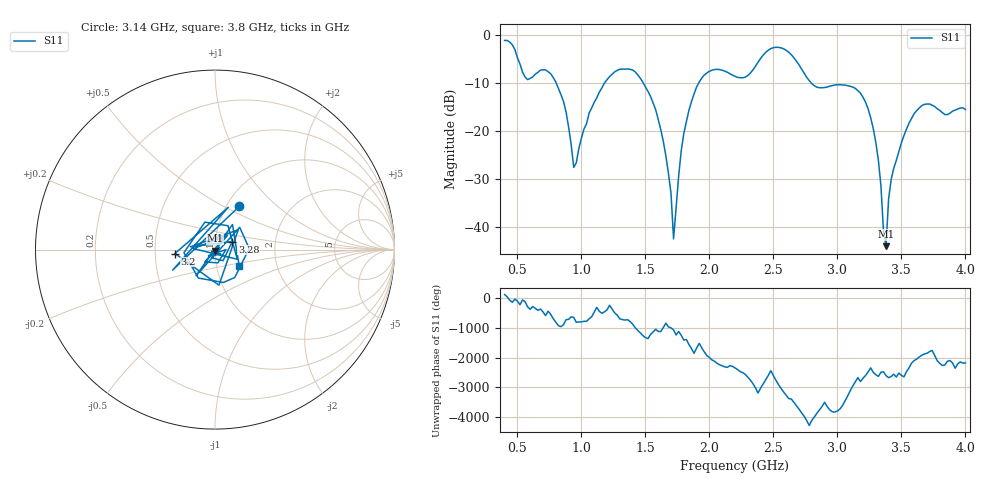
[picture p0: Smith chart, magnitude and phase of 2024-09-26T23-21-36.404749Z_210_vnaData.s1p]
!Created with skrf (http://scikit-rf.org).
# Hz S RI R 50.0
!freq ReS11 ImS11
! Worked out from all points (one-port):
!   181 points, 400 MHz to 4 GHz, reference 50 ohm
!   lowest |S11| = -43.9 dB at 3.38 GHz (marker M1), VSWR 1.01, Z = 50 - j0.636 ohm
!   |S11| at or under -10 dB: 802.5 MHz to 1.181 GHz (378.4 MHz wide, 38.2 % of centre); 1.483 GHz to 1.917 GHz (434.5 MHz wide, 25.6 % of centre); 2.794 GHz to end of sweep
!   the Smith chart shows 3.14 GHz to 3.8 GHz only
!   S11 on the Smith chart (normalised r, x): 3.14 GHz: 1.15, +0.60; 3.2 GHz: 0.63, -0.03; 3.28 GHz: 1.21, +0.11; 3.8 GHz: 1.29, -0.24
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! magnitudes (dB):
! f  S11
! 400 MHz  -1.2
! 560 MHz  -8.8
! 720 MHz  -7.3
! 860 MHz  -13.9
! 940 MHz  -27.6
! 1.06 GHz  -16.3
! 1.3 GHz  -7.2
! 1.44 GHz  -8.3
! 1.58 GHz  -15.6
! 1.68 GHz  -28.8
! 1.72 GHz  -42.4
! 1.76 GHz  -29.3
! 1.82 GHz  -18.1
! 1.92 GHz  -9.9
! 2.2 GHz  -8.6
! 2.5 GHz  -2.7
! 2.66 GHz  -4.8
! 2.84 GHz  -10.9
! 3.1 GHz  -10.7
! 3.14 GHz  -11.2
! 3.2 GHz  -13.0
! 3.28 GHz  -19.5
! 3.32 GHz  -26.1
! 3.38 GHz  -43.9
! 3.42 GHz  -30.1
! 3.56 GHz  -18.3
! 3.8 GHz  -15.7
! 4 GHz  -15.5
